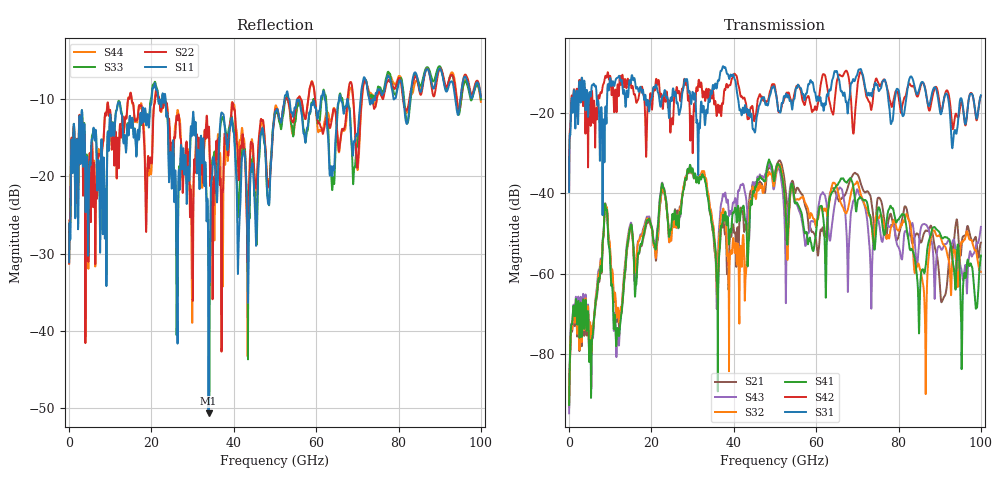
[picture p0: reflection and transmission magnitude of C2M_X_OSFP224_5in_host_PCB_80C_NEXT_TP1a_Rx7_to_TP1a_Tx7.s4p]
# GHz S RI R 45
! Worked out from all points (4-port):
!   4000 points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, 25 MHz to 100 GHz, reference 45 ohm
!   strongest paths, dB at 25 MHz, 25.02 GHz, 50.02 GHz, 75.03 GHz, 100 GHz:
!     S31: -39.7, -16.3, -14.5, -13.9, -15.7
!     S42: -39.3, -21.6, -13.7, -12.5, -15.9
!     S41: -92.6, -45.9, -35.6, -43.8, -55.5
!     S32: -92.4, -48.5, -36.7, -46.1, -59.5
!     S43: -94.6, -47.2, -37.2, -46.2, -48.4
!     S21: -93.2, -46.6, -34.8, -41.2, -52.3
!   lowest |S11| = -50.7 dB at 33.88 GHz (marker M1), VSWR 1.01, Z = 45.2 - j0.167 ohm
!   |S11| at or under -10 dB: start of sweep to 20.09 GHz; 23.42 GHz to 52.31 GHz (28.89 GHz wide, 76.3 % of centre); 53.43 GHz to 61.14 GHz (7.711 GHz wide, 13.5 % of centre) (the widest 3 of 12)
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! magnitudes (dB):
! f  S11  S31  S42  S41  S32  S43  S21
! 25 MHz  -31.1  -39.7  -39.3  -92.6  -92.4  -94.6  -93.2
! 5.35 GHz  -16.9  -15.1  -18.9  -90.8  -79.3  -82.8  -79.8
! 8.95 GHz  -22.4  -19.4  -11.0  -43.9  -43.7  -43.7  -44.0
! 11.82 GHz  -10.6  -11.4  -13.0  -73.5  -68.4  -74.0  -70.3
! 14.8 GHz  -12.2  -12.3  -12.1  -48.9  -48.7  -48.0  -49.4
! 33.88 GHz  -50.7  -16.7  -14.2  -42.1  -40.3  -41.1  -41.5
! 100 GHz  -9.8  -15.7  -15.9  -55.5  -59.5  -48.4  -52.3
